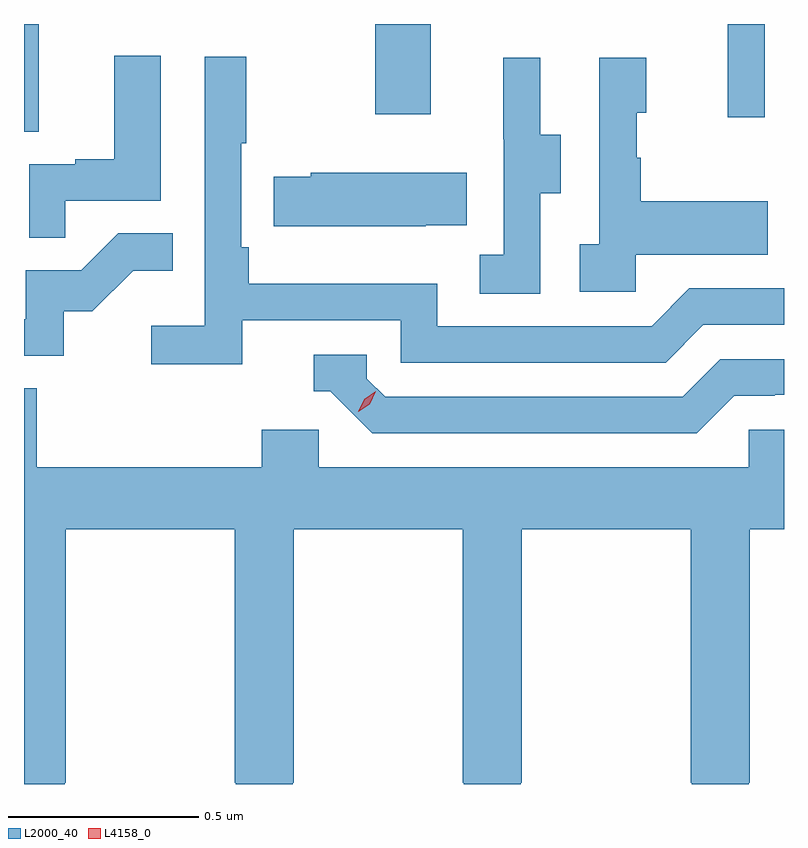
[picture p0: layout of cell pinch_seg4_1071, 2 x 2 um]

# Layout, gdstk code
import gdstk
lib = gdstk.Library(unit=1e-6, precision=1e-09)
def R(c, l, rs):  # rectangles x0, y0, x1, y1
    for r in rs: c.add(gdstk.rectangle(r[:2], r[2:], *l))
def P(c, l, *ps):  # polygons
    for p in ps: c.add(gdstk.Polygon(p, *l))
L2000_40 = (2000, 40)
L4158_0 = (4158, 0)

pinch_seg4_1071 = lib.new_cell('pinch_seg4_1071')
R(pinch_seg4_1071, L2000_40, [(865.756,752.578,865.795,752.862), (867.608,752.616,867.705,752.862), (866.68,752.625,866.827,752.862)])
P(pinch_seg4_1071, L2000_40, [(865.865,752.397),(866.116,752.397),(866.116,752.779),(865.994,752.779),(865.994,752.506),(865.891,752.506),(865.891,752.493),(865.77,752.493),(865.77,752.299),(865.865,752.299)],
  [(866.33,752.082),(866.748,752.082),(866.748,751.971),(867.445,751.971),(867.544,752.07),(867.756,752.07),(867.756,752.166),(867.507,752.166),(867.408,752.067),(866.844,752.067),(866.844,752.179),(866.348,752.179),(866.348,752.275),(866.328,752.275),(866.328,752.548),(866.341,752.548),(866.341,752.776),(866.232,752.776),(866.232,752.068),(866.091,752.068),(866.091,751.966),(866.33,751.966)],
  [(867.366,752.255),(867.713,752.255),(867.713,752.395),(867.379,752.395),(867.379,752.51),(867.369,752.51),(867.369,752.628),(867.394,752.628),(867.394,752.773),(867.27,752.773),(867.27,752.282),(867.219,752.282),(867.219,752.157),(867.366,752.157)],
  [(867.114,752.416),(867.169,752.416),(867.169,752.571),(867.115,752.571),(867.115,752.773),(867.017,752.773),(867.017,752.559),(867.018,752.559),(867.018,752.255),(866.955,752.255),(866.955,752.152),(867.114,752.152)],
  [(866.813,752.333),(866.921,752.333),(866.921,752.47),(866.511,752.47),(866.511,752.46),(866.413,752.46),(866.413,752.33),(866.813,752.33)],
  [(865.86,752.106),(865.936,752.106),(866.043,752.213),(866.147,752.213),(866.147,752.312),(866.004,752.312),(865.906,752.214),(865.761,752.214),(865.761,752.085),(865.756,752.085),(865.756,751.989),(865.86,751.989)],
  [(867.625,751.884),(867.732,751.884),(867.732,751.887),(867.756,751.887),(867.756,751.98),(867.588,751.98),(867.489,751.881),(866.706,751.881),(866.658,751.929),(866.658,751.992),(866.519,751.992),(866.519,751.896),(866.562,751.896),(866.673,751.785),(867.526,751.785)],
  [(866.532,751.794),(866.381,751.794),(866.381,751.696),(865.79,751.696),(865.79,751.904),(865.756,751.904),(865.756,750.862),(865.863,750.862),(865.863,750.865),(865.866,750.865),(865.866,751.532),(866.311,751.532),(866.311,750.865),(866.313,750.865),(866.313,750.862),(866.463,750.862),(866.463,750.865),(866.466,750.865),(866.466,751.532),(866.911,751.532),(866.911,750.865),(866.913,750.865),(866.913,750.862),(867.063,750.862),(867.063,750.865),(867.066,750.865),(867.066,751.532),(867.511,751.532),(867.511,750.865),(867.513,750.865),(867.513,750.862),(867.663,750.862),(867.663,750.865),(867.666,750.865),(867.666,751.532),(867.756,751.532),(867.756,751.794),(867.663,751.794),(867.663,751.696),(866.532,751.696)])
P(pinch_seg4_1071, L4158_0, [(866.636,751.842),(866.636,751.842),(866.651,751.875),(866.682,751.895),(866.682,751.895),(866.682,751.895),(866.666,751.862),(866.636,751.842)])

lib.write_gds('pinch_seg4_1071.gds')
